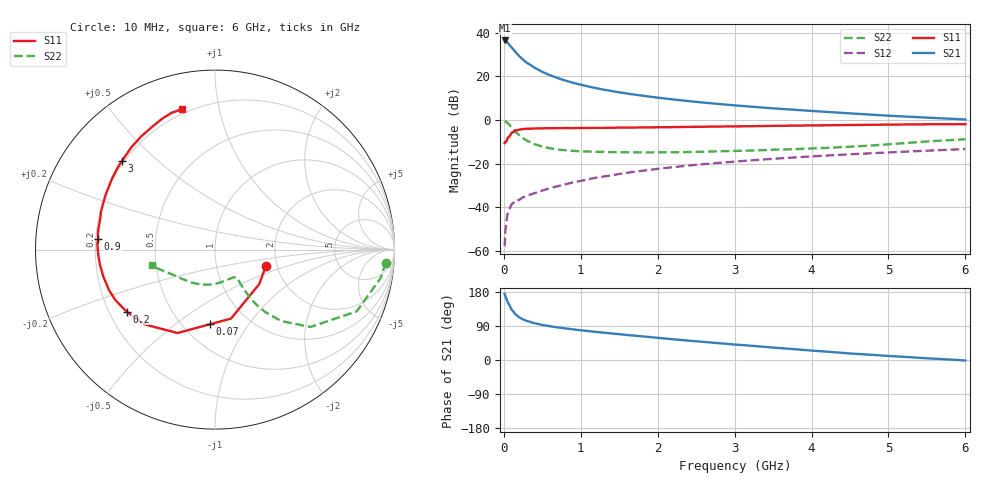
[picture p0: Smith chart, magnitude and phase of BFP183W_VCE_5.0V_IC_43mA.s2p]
! Infineon Technologies  Discrete & RF Semiconductors
! BFP183W
! VCE =  5.0 V,  IC =  43 mA
! Common Emitter S-Parameters:  Jan 2017
# GHz  S  MA  R  50
!  f  S11  S21  S12  S22
! GHz  MAG  ANG  MAG  ANG  MAG  ANG  MAG  ANG
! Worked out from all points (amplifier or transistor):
!   77 points, 10 MHz to 6 GHz, reference 50 ohm
!   highest |S21| = 36.4 dB at 10 MHz (marker M1)
!   |S21| within 3 dB of that: start of sweep to 96.72 MHz
!   unconditionally stable (mu >= 1): 734.8 MHz to 3.334 GHz
!   at 130 MHz: K = 0.38, MSG = 34.8 dB, |S12| = -37.7 dB
!   at 2.2 GHz: K = 1.06, MAG = 13.9 dB, |S12| = -21.6 dB
!   at 6 GHz: K = 0.86, MSG = 6.8 dB, |S12| = -13.3 dB
!   S11 on the Smith chart (normalised r, x): 10 MHz: 1.75, -0.35; 70 MHz: 0.67, -0.67; 200 MHz: 0.27, -0.29; 900 MHz: 0.21, +0.05; 3 GHz: 0.19, +0.39; 6 GHz: 0.18, +0.77
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0.01  0.2982 -18.1  66.18 174.5  0.0013 88.3  0.9541 -4.4
0.02  0.3125 -37.9  65.09 168.2  0.0029 101.7  0.9369 -9.7
0.05  0.3944 -76.9  58.91 152.4  0.0074 68.1  0.8616 -23.5
0.07  0.4175 -94.1  53.12 145.7  0.0091 64.1  0.7845 -28.9
0.1  0.5097 -114.2  46.19 132.9  0.0116 60.3  0.6852 -39.0
0.15  0.574 -133.6  36.09 120.9  0.0142 51.3  0.5427 -47.2
0.2  0.6018 -145.0  28.97 112.7  0.0149 50.8  0.4486 -51.1
0.25  0.6225 -153.2  24.03 107.0  0.0172 50.6  0.383 -53.1
0.3  0.6317 -158.9  20.41 102.9  0.0184 50.5  0.337 -53.9
0.4  0.6405 -166.6  15.7 96.8  0.0212 54.4  0.2792 -53.9
0.5  0.6459 -172.2  12.65 92.5  0.0244 56.7  0.2462 -53.4
0.6  0.6499 -176.1  10.63 89.0  0.0276 58.5  0.2256 -53.0
0.7  0.6526 -179.6  9.129 86.1  0.0306 61.2  0.2113 -52.4
0.9  0.6547 174.6  7.113 80.8  0.0375 63.7  0.1972 -53.0
1.1  0.659 169.9  5.854 76.4  0.0442 65.0  0.1902 -54.3
1.5  0.6694 161.7  4.305 68.1  0.0584 65.5  0.1833 -59.6
2.1  0.6852 150.7  3.102 56.7  0.0799 64.1  0.1827 -72.9
3  0.7157 136.6  2.164 40.8  0.1118 59.6  0.1966 -97.7
3.1  0.7188 135.1  2.098 39.4  0.1153 59.0  0.1983 -100.4
4.1  0.7559 121.7  1.574 23.4  0.1505 52.7  0.2272 -127.4
5.1  0.7883 111.2  1.231 9.5  0.1847 46.0  0.2868 -152.6
6  0.8036 103.4  1.029 -1.2  0.217 39.6  0.364 -166.0
